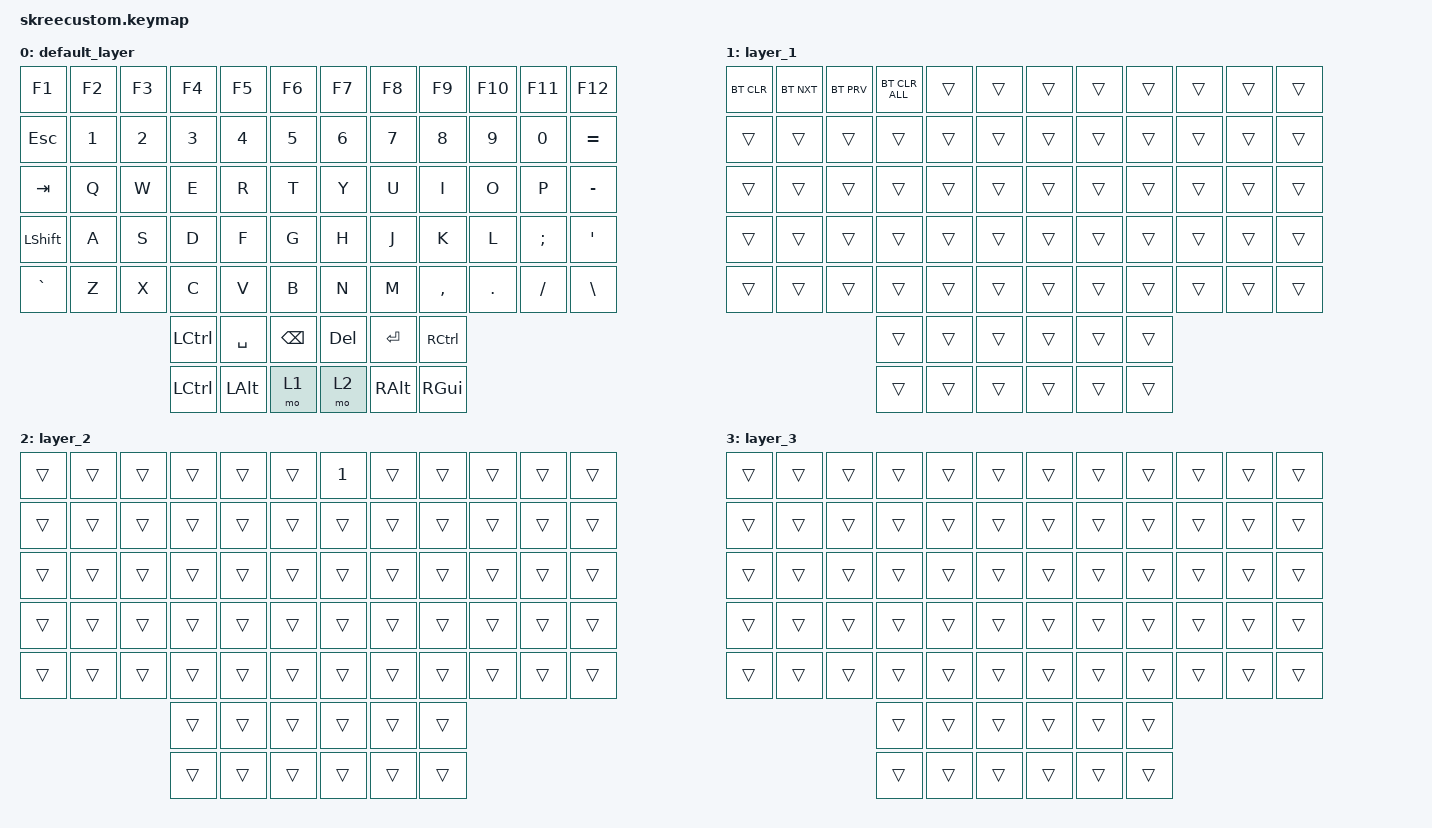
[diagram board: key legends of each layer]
/*
 * Copyright (c) 2020 The ZMK Contributors
 *
 * SPDX-License-Identifier: MIT
 */
//#include <behaviors/mouse_keys.dtsi>

#include <input/processors.dtsi>
#include <dt-bindings/zmk/input_transform.h>
#include <behaviors.dtsi>
#include <dt-bindings/zmk/bt.h>
#include <dt-bindings/zmk/keys.h>

/ {
    keymap {
        compatible = "zmk,keymap";

        default_layer {
            bindings = <
&kp F1     &kp F2  &kp F3  &kp F4     &kp F5     &kp F6      &kp F7   &kp F8    &kp F9     &kp F10  &kp F11   &kp F12
&kp ESC    &kp N1  &kp N2  &kp N3     &kp N4     &kp N5      &kp N6   &kp N7    &kp N8     &kp N9   &kp N0    &kp EQUAL
&kp TAB    &kp Q   &kp W   &kp E      &kp R      &kp T       &kp Y    &kp U     &kp I      &kp O    &kp P     &kp MINUS
&kp LSHFT  &kp A   &kp S   &kp D      &kp F      &kp G       &kp H    &kp J     &kp K      &kp L    &kp SEMI  &kp SQT
&kp GRAVE  &kp Z   &kp X   &kp C      &kp V      &kp B       &kp N    &kp M     &kp COMMA  &kp DOT  &kp FSLH  &kp BSLH
                           &kp LCTRL  &kp SPACE  &kp BSPC    &kp DEL  &kp RET   &kp RCTRL
                           &kp LCTRL  &kp LALT   &mo 1       &mo 2    &kp RALT  &kp RGUI
            >;
        };

        layer_1 {
            bindings = <
&bt BT_CLR  &bt BT_NXT  &bt BT_PRV  &bt BT_CLR_ALL  &trans  &trans    &trans  &trans  &trans  &trans  &trans  &trans
&trans      &trans      &trans      &trans          &trans  &trans    &trans  &trans  &trans  &trans  &trans  &trans
&trans      &trans      &trans      &trans          &trans  &trans    &trans  &trans  &trans  &trans  &trans  &trans
&trans      &trans      &trans      &trans          &trans  &trans    &trans  &trans  &trans  &trans  &trans  &trans
&trans      &trans      &trans      &trans          &trans  &trans    &trans  &trans  &trans  &trans  &trans  &trans
                                    &trans          &trans  &trans    &trans  &trans  &trans
                                    &trans          &trans  &trans    &trans  &trans  &trans
            >;
        };

        layer_2 {
            bindings = <
&trans  &trans  &trans  &trans  &trans  &trans    &kp N1  &trans  &trans  &trans  &trans  &trans
&trans  &trans  &trans  &trans  &trans  &trans    &trans  &trans  &trans  &trans  &trans  &trans
&trans  &trans  &trans  &trans  &trans  &trans    &trans  &trans  &trans  &trans  &trans  &trans
&trans  &trans  &trans  &trans  &trans  &trans    &trans  &trans  &trans  &trans  &trans  &trans
&trans  &trans  &trans  &trans  &trans  &trans    &trans  &trans  &trans  &trans  &trans  &trans
                        &trans  &trans  &trans    &trans  &trans  &trans
                        &trans  &trans  &trans    &trans  &trans  &trans
            >;
        };

        layer_3 {
            bindings = <
&trans  &trans  &trans  &trans  &trans  &trans    &trans  &trans  &trans  &trans  &trans  &trans
&trans  &trans  &trans  &trans  &trans  &trans    &trans  &trans  &trans  &trans  &trans  &trans
&trans  &trans  &trans  &trans  &trans  &trans    &trans  &trans  &trans  &trans  &trans  &trans
&trans  &trans  &trans  &trans  &trans  &trans    &trans  &trans  &trans  &trans  &trans  &trans
&trans  &trans  &trans  &trans  &trans  &trans    &trans  &trans  &trans  &trans  &trans  &trans
                        &trans  &trans  &trans    &trans  &trans  &trans
                        &trans  &trans  &trans    &trans  &trans  &trans
            >;
        };
    };
};

// //right hand trackball overrides
// &trackball_peripheral_listener {
//     input-processors =
//         <&zip_xy_transform INPUT_TRANSFORM_XY_SWAP>,//this gets it to the default installation orientation
//         <&zip_temp_layer 3 500>;//activate layer 3 within 500ms of the trackball moving
// };
// //left hand trackball overrides
// &trackball_central_listener {
//     input-processors = 
//         <&zip_xy_transform INPUT_TRANSFORM_XY_SWAP>,//this gets it to the default installation orientation
//         <&zip_xy_scaler 1 3>,//multiply sensitivity by 1, divide by 3 (make it slower for scrolling)
//         <&zip_xy_to_scroll_mapper>,//make this trackball output scrolling events by default instead of cursor movement
//         <&zip_scroll_transform INPUT_TRANSFORM_Y_INVERT>;//invert vertical scrolling so that the view moves in the same direction as the top of the trackball.
// };
